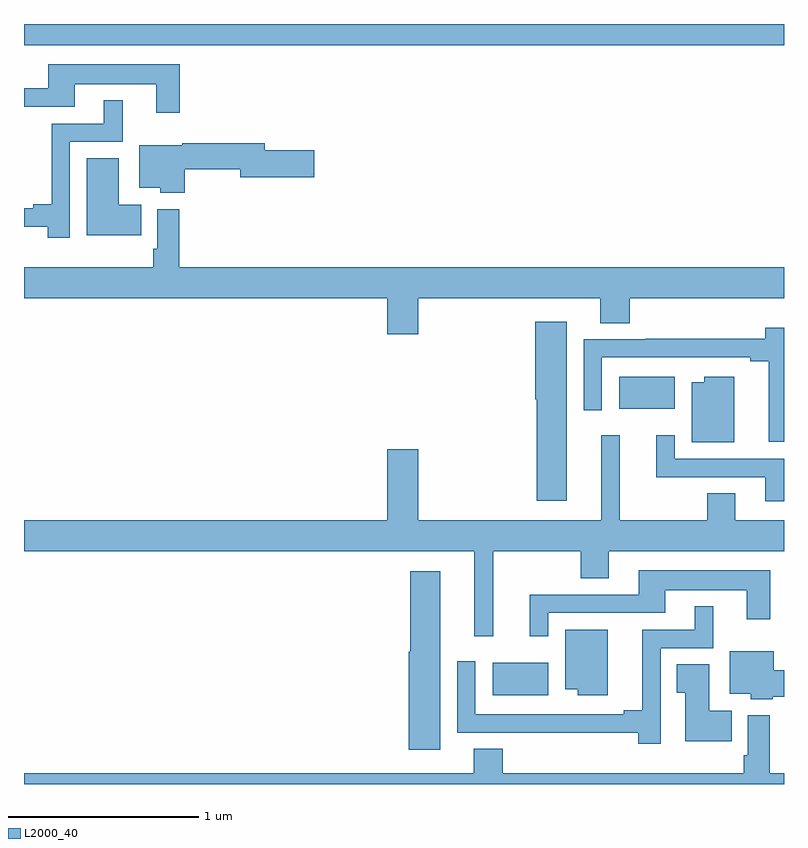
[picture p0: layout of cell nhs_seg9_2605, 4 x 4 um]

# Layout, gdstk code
import gdstk
lib = gdstk.Library(unit=1e-6, precision=1e-09)
def R(c, l, rs):  # rectangles x0, y0, x1, y1
    for r in rs: c.add(gdstk.rectangle(r[:2], r[2:], *l))
def P(c, l, *ps):  # polygons
    for p in ps: c.add(gdstk.Polygon(p, *l))
L2000_40 = (2000, 40)

nhs_seg9_2605 = lib.new_cell('nhs_seg9_2605')
R(nhs_seg9_2605, L2000_40, [(261.467,1224.968,261.76,1225.138), (262.133,1226.474,262.426,1226.644), (259,1228.388,263,1228.5)])
P(nhs_seg9_2605, L2000_40, [(259.819,1228.288),(259.127,1228.288),(259.127,1228.161),(259,1228.161),(259,1228.065),(259.267,1228.065),(259.267,1228.184),(259.697,1228.184),(259.697,1228.032),(259.819,1228.032)],
  [(259.242,1227.879),(259.519,1227.879),(259.519,1228.099),(259.421,1228.099),(259.421,1227.975),(259.145,1227.975),(259.145,1227.551),(259.049,1227.551),(259.049,1227.531),(259,1227.531),(259,1227.434),(259.126,1227.434),(259.126,1227.375),(259.242,1227.375)],
  [(259.845,1227.736),(260.138,1227.736),(260.138,1227.694),(260.527,1227.694),(260.527,1227.836),(260.266,1227.836),(260.266,1227.872),(259.833,1227.872),(259.833,1227.862),(259.607,1227.862),(259.607,1227.638),(259.716,1227.638),(259.716,1227.611),(259.845,1227.611)],
  [(259.616,1227.55),(259.498,1227.55),(259.498,1227.794),(259.331,1227.794),(259.331,1227.389),(259.616,1227.389)],
  [(261.076,1227.056),(262.034,1227.056),(262.034,1226.926),(262.187,1226.926),(262.187,1227.056),(263,1227.056),(263,1227.22),(259.817,1227.22),(259.817,1227.526),(259.701,1227.526),(259.701,1227.316),(259.681,1227.316),(259.681,1227.22),(259,1227.22),(259,1227.056),(260.912,1227.056),(260.912,1226.868),(261.076,1226.868)],
  [(261.856,1226.932),(261.692,1226.932),(261.692,1226.526),(261.698,1226.526),(261.698,1225.992),(261.856,1225.992)],
  [(263,1226.902),(262.9,1226.902),(262.9,1226.843),(262.27,1226.843),(262.27,1226.841),(261.945,1226.841),(261.945,1226.466),(262.041,1226.466),(262.041,1226.745),(262.823,1226.745),(262.823,1226.725),(262.919,1226.725),(262.919,1226.301),(263,1226.301)],
  [(262.738,1226.644),(262.58,1226.644),(262.58,1226.614),(262.514,1226.614),(262.514,1226.3),(262.738,1226.3)],
  [(261.47,1225.724),(261.931,1225.724),(261.931,1225.582),(262.078,1225.582),(262.078,1225.724),(263,1225.724),(263,1225.888),(262.744,1225.888),(262.744,1226.03),(262.597,1226.03),(262.597,1225.888),(262.136,1225.888),(262.136,1226.335),(262.037,1226.335),(262.037,1225.888),(261.076,1225.888),(261.076,1226.263),(260.912,1226.263),(260.912,1225.888),(259,1225.888),(259,1225.724),(261.371,1225.724),(261.371,1225.278),(261.47,1225.278)],
  [(263,1226.211),(262.425,1226.211),(262.425,1226.335),(262.328,1226.335),(262.328,1226.115),(262.901,1226.115),(262.901,1225.988),(263,1225.988)],
  [(261.759,1225.401),(262.375,1225.401),(262.375,1225.52),(262.805,1225.52),(262.805,1225.368),(262.927,1225.368),(262.927,1225.624),(262.235,1225.624),(262.235,1225.497),(261.662,1225.497),(261.662,1225.278),(261.759,1225.278)],
  [(261.19,1225.621),(261.032,1225.621),(261.032,1225.197),(261.026,1225.197),(261.026,1224.681),(261.19,1224.681)],
  [(262.35,1225.215),(262.627,1225.215),(262.627,1225.435),(262.529,1225.435),(262.529,1225.311),(262.253,1225.311),(262.253,1224.887),(262.157,1224.887),(262.157,1224.867),(261.375,1224.867),(261.375,1225.147),(261.279,1225.147),(261.279,1224.771),(261.604,1224.771),(261.604,1224.77),(262.234,1224.77),(262.234,1224.711),(262.35,1224.711)],
  [(262.072,1225.312),(261.848,1225.312),(261.848,1224.998),(261.914,1224.998),(261.914,1224.968),(262.072,1224.968)],
  [(262.941,1224.958),(263,1224.958),(263,1225.1),(262.945,1225.1),(262.945,1225.198),(262.715,1225.198),(262.715,1224.974),(262.824,1224.974),(262.824,1224.947),(262.941,1224.947)],
  [(262.724,1224.886),(262.606,1224.886),(262.606,1225.13),(262.435,1225.13),(262.435,1224.979),(262.481,1224.979),(262.481,1224.725),(262.724,1224.725)],
  [(263,1224.556),(262.925,1224.556),(262.925,1224.862),(262.809,1224.862),(262.809,1224.652),(262.789,1224.652),(262.789,1224.556),(261.521,1224.556),(261.521,1224.686),(261.368,1224.686),(261.368,1224.556),(259,1224.556),(259,1224.5),(263,1224.5)])

lib.write_gds('nhs_seg9_2605.gds')
